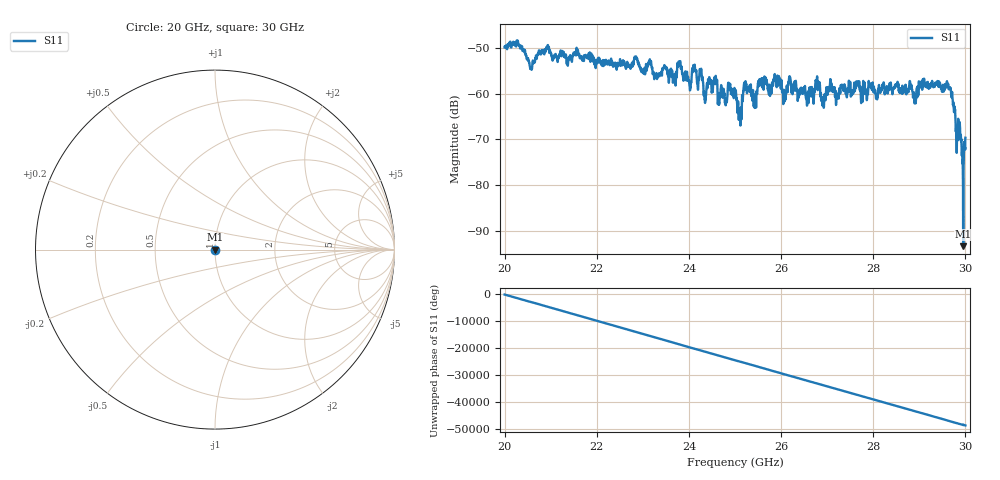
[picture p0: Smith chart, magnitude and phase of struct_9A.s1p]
#  HZ  S  RI  R  50.00
! Rohde & Schwarz ZVA40 4Ports - Version 3.90 - 1145.1110k42 SN: 100403
! Date: 2023-09-28 10:59:57
! Measurement: S12
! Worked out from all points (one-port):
!   5001 points, 20 GHz to 30 GHz, reference 50 ohm
!   lowest |S11| = -93.4 dB at 29.95 GHz (marker M1), VSWR 1.00, Z = 50 - j0.00211 ohm
!   |S11| at or under -10 dB: start of sweep to end of sweep
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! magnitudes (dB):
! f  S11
! 20 GHz  -49.8
! 20.31 GHz  -49.4
! 20.58 GHz  -54.4
! 20.92 GHz  -50.2
! 21.25 GHz  -50.6
! 22.5 GHz  -52.8
! 23.75 GHz  -53.3
! 24.01 GHz  -58.1
! 24.12 GHz  -54.3
! 24.36 GHz  -61.0
! 24.57 GHz  -57.9
! 24.67 GHz  -59.8
! 25 GHz  -60.0
! 25.1 GHz  -63.3
! 25.22 GHz  -57.6
! 25.41 GHz  -61.8
! 25.54 GHz  -57.0
! 26.07 GHz  -61.2
! 26.25 GHz  -60.0
! 26.58 GHz  -60.0
! 26.79 GHz  -59.1
! 26.92 GHz  -62.0
! 27.06 GHz  -57.9
! 27.5 GHz  -57.4
! 28.75 GHz  -59.5
! 29.64 GHz  -58.9
! 29.95 GHz  -93.4
! 30 GHz  -69.6
